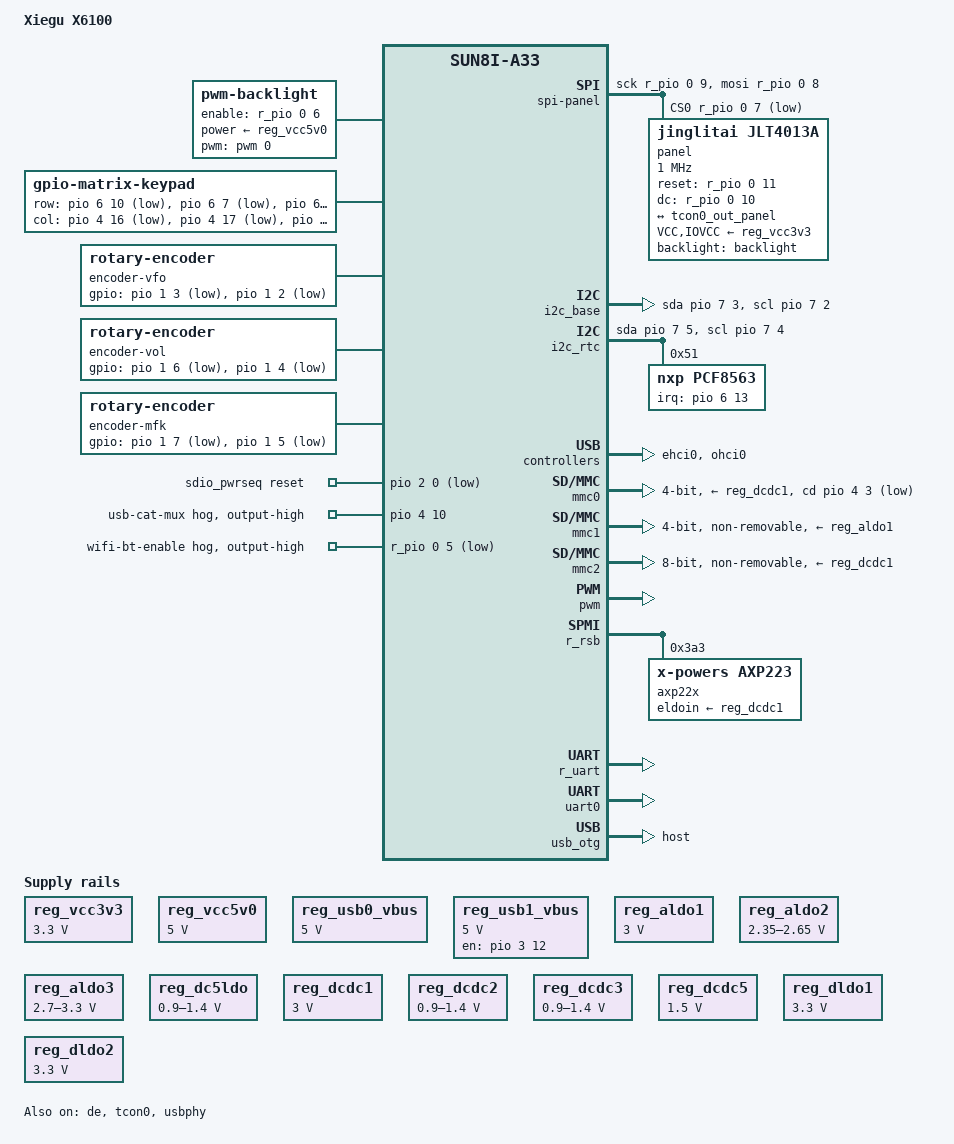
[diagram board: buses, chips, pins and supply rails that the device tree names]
// SPDX-License-Identifier: GPL-2.0-or-later OR MIT
/*
 * Xiegu X6100 HF/50 MHz transceiver, Linux side (Allwinner R16 / A33),
 * for x6100-q3: a system that runs Quake 3 on the radio's screen.
 *
 * Board facts (pins, regulators, keypad matrix, encoder wiring) were
 * worked out from the hardware and the stock system's device tree.
 * Device names are fixed here, not left to probe order:
 *
 *   /dev/ttyS0   Linux console (USB-C dual serial bridge, first port)
 *   /dev/ttyS2   second port of that bridge (r_uart, PE10 mux)
 *   /dev/i2c-0   BASE board control registers, slave 0x72 (power-off)
 *   /dev/i2c-1   PCF8563 battery-backed clock
 *   /dev/rtc0    PCF8563 (system time at boot, kept by chrony)
 *   /dev/fb0     480x800 portrait panel, XRGB8888 (mounted sideways)
 *   event*       keypad (BTN_TRIGGER_HAPPY1..30), three encoders
 *                (REL axes 0/1/2 = VFO/VOL/MFK), AXP223 power key
 *   sysfs gpio143 (PE15) key backlight, gpio203 (PG11) CW key (active
 *                low; must stay high: low keys the transmitter), gpio204
 *                (PG12) BASE reset (active high): set at boot by S03system
 *   PL5          Wi-Fi/Bluetooth module power, active low, held on (hog)
 *
 * Linux never transmits: the BASE board's flow UART (uart3) is off, and
 * so is the A33 audio codec, whose output is the transmitter's modem
 * input. Sound goes to Bluetooth or USB audio instead.
 */

/dts-v1/;

#include "sun8i-a33.dtsi"

#include <dt-bindings/gpio/gpio.h>
#include <dt-bindings/input/input.h>
#include <dt-bindings/interrupt-controller/irq.h>

/ {
	model = "Xiegu X6100";
	compatible = "xiegu,x6100", "allwinner,sun8i-r16", "allwinner,sun8i-a33";

	aliases {
		serial0 = &uart0;
		serial1 = &uart3;
		serial2 = &r_uart;
		i2c0 = &i2c_base;
		i2c1 = &i2c_rtc;
		rtc0 = &pcf8563;
		rtc1 = &rtc;
		mmc0 = &mmc0;
		mmc1 = &mmc1;
		mmc2 = &mmc2;
	};

	chosen {
		stdout-path = "serial0:115200n8";
	};

	reg_vcc3v3: regulator-vcc3v3 {
		compatible = "regulator-fixed";
		regulator-name = "vcc3v3";
		regulator-min-microvolt = <3300000>;
		regulator-max-microvolt = <3300000>;
	};

	reg_vcc5v0: regulator-vcc5v0 {
		compatible = "regulator-fixed";
		regulator-name = "vcc5v0";
		regulator-min-microvolt = <5000000>;
		regulator-max-microvolt = <5000000>;
	};

	/* The internal RTL8723BU (Wi-Fi + Bluetooth) sits on the OTG port. */
	reg_usb0_vbus: regulator-usb0-vbus {
		compatible = "regulator-fixed";
		regulator-name = "usb0-vbus";
		regulator-min-microvolt = <5000000>;
		regulator-max-microvolt = <5000000>;
		regulator-always-on;
	};

	reg_usb1_vbus: regulator-usb1-vbus {
		compatible = "regulator-fixed";
		regulator-name = "usb1-vbus";
		regulator-min-microvolt = <5000000>;
		regulator-max-microvolt = <5000000>;
		regulator-boot-on;
		enable-active-high;
		gpio = <&pio 3 12 GPIO_ACTIVE_HIGH>; /* PD12 */
	};

	/*
	 * The panel's PWM input is inverted: sysfs level 1 is the brightest,
	 * 9 the dimmest; 0 / bl_power switch it off.
	 */
	backlight: backlight {
		compatible = "pwm-backlight";
		pwms = <&pwm 0 10000000 0>;
		power-supply = <&reg_vcc5v0>;
		brightness-levels = <0 10 20 30 40 50 60 70 80 90 100>;
		default-brightness-level = <5>;
		enable-gpios = <&r_pio 0 6 GPIO_ACTIVE_HIGH>; /* PL6 */
	};

	/* Panel command interface: bit-banged 4-wire SPI with a D/CX line. */
	spi-panel {
		compatible = "spi-gpio";
		#address-cells = <1>;
		#size-cells = <0>;
		sck-gpios = <&r_pio 0 9 GPIO_ACTIVE_HIGH>;	/* PL9 */
		mosi-gpios = <&r_pio 0 8 GPIO_ACTIVE_HIGH>;	/* PL8 */
		cs-gpios = <&r_pio 0 7 GPIO_ACTIVE_LOW>;	/* PL7 */
		num-chipselects = <1>;

		panel@0 {
			compatible = "jinglitai,jlt4013a", "sitronix,st7701";
			reg = <0>;
			spi-max-frequency = <1000000>;
			/* The st7701 driver drives reset as "1 = running". */
			reset-gpios = <&r_pio 0 11 GPIO_ACTIVE_HIGH>;	/* PL11 */
			dc-gpios = <&r_pio 0 10 GPIO_ACTIVE_HIGH>;	/* PL10 */
			VCC-supply = <&reg_vcc3v3>;
			IOVCC-supply = <&reg_vcc3v3>;
			backlight = <&backlight>;
			/* Mounted portrait; the radio is used landscape. */
			rotation = <270>;

			port {
				panel_in: endpoint {
					remote-endpoint = <&tcon0_out_panel>;
				};
			};
		};
	};

	/* Bit-banged buses, as on the stock system: the BASE stretches SCL. */
	i2c_base: i2c-base {
		compatible = "i2c-gpio";
		sda-gpios = <&pio 7 3 (GPIO_ACTIVE_HIGH | GPIO_OPEN_DRAIN)>; /* PH3 */
		scl-gpios = <&pio 7 2 (GPIO_ACTIVE_HIGH | GPIO_OPEN_DRAIN)>; /* PH2 */
		i2c-gpio,delay-us = <2>;
		#address-cells = <1>;
		#size-cells = <0>;
	};

	i2c_rtc: i2c-rtc {
		compatible = "i2c-gpio";
		sda-gpios = <&pio 7 5 (GPIO_ACTIVE_HIGH | GPIO_OPEN_DRAIN)>; /* PH5 */
		scl-gpios = <&pio 7 4 (GPIO_ACTIVE_HIGH | GPIO_OPEN_DRAIN)>; /* PH4 */
		i2c-gpio,delay-us = <2>;
		#address-cells = <1>;
		#size-cells = <0>;

		pcf8563: rtc@51 {
			compatible = "nxp,pcf8563";
			reg = <0x51>;
			interrupt-parent = <&pio>;
			interrupts = <6 13 IRQ_TYPE_EDGE_FALLING>; /* PG13 */
			#clock-cells = <0>;
		};
	};

	/*
	 * Front panel keys, BTN_TRIGGER_HAPPYn by matrix position, as wired
	 * (x6100-launcher knows the soft keys and knob pushes by number).
	 */
	keypad {
		compatible = "gpio-matrix-keypad";
		row-gpios = <&pio 6 10 (GPIO_ACTIVE_LOW | GPIO_PULL_UP)>,	/* PG10 */
			    <&pio 6 7 (GPIO_ACTIVE_LOW | GPIO_PULL_UP)>,	/* PG7 */
			    <&pio 6 6 (GPIO_ACTIVE_LOW | GPIO_PULL_UP)>,	/* PG6 */
			    <&pio 6 8 (GPIO_ACTIVE_LOW | GPIO_PULL_UP)>,	/* PG8 */
			    <&pio 6 9 (GPIO_ACTIVE_LOW | GPIO_PULL_UP)>;	/* PG9 */
		col-gpios = <&pio 4 16 GPIO_ACTIVE_LOW>,	/* PE16 */
			    <&pio 4 17 GPIO_ACTIVE_LOW>,	/* PE17 */
			    <&pio 4 11 GPIO_ACTIVE_LOW>,	/* PE11 */
			    <&pio 4 14 GPIO_ACTIVE_LOW>,	/* PE14 */
			    <&pio 4 12 GPIO_ACTIVE_LOW>,	/* PE12 */
			    <&pio 4 13 GPIO_ACTIVE_LOW>;	/* PE13 */
		linux,keymap = <
			MATRIX_KEY(0, 0, BTN_TRIGGER_HAPPY1)  MATRIX_KEY(0, 1, BTN_TRIGGER_HAPPY2)
			MATRIX_KEY(0, 2, BTN_TRIGGER_HAPPY3)  MATRIX_KEY(0, 3, BTN_TRIGGER_HAPPY4)
			MATRIX_KEY(0, 4, BTN_TRIGGER_HAPPY5)  MATRIX_KEY(0, 5, BTN_TRIGGER_HAPPY6)
			MATRIX_KEY(1, 0, BTN_TRIGGER_HAPPY7)  MATRIX_KEY(1, 1, BTN_TRIGGER_HAPPY8)
			MATRIX_KEY(1, 2, BTN_TRIGGER_HAPPY9)  MATRIX_KEY(1, 3, BTN_TRIGGER_HAPPY10)
			MATRIX_KEY(1, 4, BTN_TRIGGER_HAPPY11) MATRIX_KEY(1, 5, BTN_TRIGGER_HAPPY12)
			MATRIX_KEY(2, 0, BTN_TRIGGER_HAPPY13) MATRIX_KEY(2, 1, BTN_TRIGGER_HAPPY14)
			MATRIX_KEY(2, 2, BTN_TRIGGER_HAPPY15) MATRIX_KEY(2, 3, BTN_TRIGGER_HAPPY16)
			MATRIX_KEY(2, 4, BTN_TRIGGER_HAPPY17) MATRIX_KEY(2, 5, BTN_TRIGGER_HAPPY18)
			MATRIX_KEY(3, 0, BTN_TRIGGER_HAPPY19) MATRIX_KEY(3, 1, BTN_TRIGGER_HAPPY20)
			MATRIX_KEY(3, 2, BTN_TRIGGER_HAPPY21) MATRIX_KEY(3, 3, BTN_TRIGGER_HAPPY22)
			MATRIX_KEY(3, 4, BTN_TRIGGER_HAPPY23) MATRIX_KEY(3, 5, BTN_TRIGGER_HAPPY24)
			MATRIX_KEY(4, 0, BTN_TRIGGER_HAPPY25) MATRIX_KEY(4, 1, BTN_TRIGGER_HAPPY26)
			MATRIX_KEY(4, 2, BTN_TRIGGER_HAPPY27) MATRIX_KEY(4, 3, BTN_TRIGGER_HAPPY28)
			MATRIX_KEY(4, 4, BTN_TRIGGER_HAPPY29) MATRIX_KEY(4, 5, BTN_TRIGGER_HAPPY30)
		>;
		gpio-activelow;
		drive-inactive-cols;
		debounce-delay-ms = <25>;
		col-scan-delay-us = <1>;
		linux,no-autorepeat;
		wakeup-source;
	};

	/* Encoders: REL axis 0 = VFO, 1 = VOL, 2 = MFK (direction as stock). */
	encoder-vfo {
		compatible = "rotary-encoder";
		pinctrl-names = "default";
		pinctrl-0 = <&encoder_vfo_pins>;
		gpios = <&pio 1 3 GPIO_ACTIVE_LOW>, <&pio 1 2 GPIO_ACTIVE_LOW>; /* PB3, PB2 */
		linux,axis = <0>;
		rotary-encoder,encoding = "gray";
		rotary-encoder,relative-axis;
	};

	encoder-vol {
		compatible = "rotary-encoder";
		pinctrl-names = "default";
		pinctrl-0 = <&encoder_vol_pins>;
		gpios = <&pio 1 6 GPIO_ACTIVE_LOW>, <&pio 1 4 GPIO_ACTIVE_LOW>; /* PB6, PB4 */
		linux,axis = <1>;
		rotary-encoder,encoding = "gray";
		rotary-encoder,relative-axis;
	};

	encoder-mfk {
		compatible = "rotary-encoder";
		pinctrl-names = "default";
		pinctrl-0 = <&encoder_mfk_pins>;
		gpios = <&pio 1 7 GPIO_ACTIVE_LOW>, <&pio 1 5 GPIO_ACTIVE_LOW>; /* PB7, PB5 */
		linux,axis = <2>;
		rotary-encoder,encoding = "gray";
		rotary-encoder,relative-axis;
	};

	/* Only for boards with the SDIO RTL8723BS instead of the USB module. */
	sdio_pwrseq: sdio-pwrseq {
		compatible = "mmc-pwrseq-simple";
		reset-gpios = <&pio 2 0 GPIO_ACTIVE_LOW>; /* PC0 */
	};
};

/* DVFS up to the R16's rated 1.2 GHz (vdd-cpu is the AXP223 DCDC3). */
&cpu0 {
	cpu-supply = <&reg_dcdc3>;
};

&cpu0_opp_table {
	opp-1104000000 {
		opp-hz = /bits/ 64 <1104000000>;
		opp-microvolt = <1320000>;
		clock-latency-ns = <244144>; /* 8 32k periods */
	};

	opp-1200000000 {
		opp-hz = /bits/ 64 <1200000000>;
		opp-microvolt = <1320000>;
		clock-latency-ns = <244144>; /* 8 32k periods */
	};
};

&de {
	status = "okay";
};

&ehci0 {
	status = "okay";
};

&mmc0 {
	vmmc-supply = <&reg_dcdc1>;
	bus-width = <4>;
	cd-gpios = <&pio 4 3 GPIO_ACTIVE_LOW>; /* PE3 */
	status = "okay";
};

&mmc1 {
	pinctrl-names = "default";
	pinctrl-0 = <&mmc1_pg_pins>;
	vmmc-supply = <&reg_aldo1>;
	mmc-pwrseq = <&sdio_pwrseq>;
	bus-width = <4>;
	non-removable;
	status = "okay";
};

&mmc2 {
	pinctrl-names = "default";
	pinctrl-0 = <&mmc2_8bit_pins>;
	vmmc-supply = <&reg_dcdc1>;
	bus-width = <8>;
	non-removable;
	cap-mmc-hw-reset;
	status = "okay";
};

&ohci0 {
	status = "okay";
};

&pio {
	vcc-pb-supply = <&reg_vcc3v3>;
	vcc-pc-supply = <&reg_vcc3v3>;
	vcc-pd-supply = <&reg_vcc3v3>;
	vcc-pe-supply = <&reg_vcc3v3>;
	vcc-pf-supply = <&reg_vcc3v3>;
	vcc-pg-supply = <&reg_vcc3v3>;
	vcc-ph-supply = <&reg_vcc3v3>;

	/*
	 * PE10 routes the USB-C port's serial bridge to /dev/ttyS2. The stock
	 * launcher raises it while a UI runs; here it is simply always on.
	 */
	usb-cat-mux-hog {
		gpio-hog;
		gpios = <4 10 GPIO_ACTIVE_HIGH>;
		output-high;
		line-name = "usb-cat-mux";
	};

	encoder_vfo_pins: encoder-vfo-pins {
		pins = "PB2", "PB3";
		function = "gpio_in";
		bias-pull-up;
	};

	encoder_vol_pins: encoder-vol-pins {
		pins = "PB4", "PB6";
		function = "gpio_in";
		bias-pull-up;
	};

	encoder_mfk_pins: encoder-mfk-pins {
		pins = "PB5", "PB7";
		function = "gpio_in";
		bias-pull-up;
	};

	usb0_id_det_pin: usb0-id-det-pin {
		pins = "PH8";
		function = "gpio_in";
		bias-pull-up;
	};
};

&pwm {
	pinctrl-names = "default";
	pinctrl-0 = <&pwm0_pin>;
	status = "okay";
};

&r_pio {
	vcc-pl-supply = <&reg_vcc3v3>;

	/* PL5 powers the RTL8723BU Wi-Fi/Bluetooth module, active low
	 * (X6100Control's x6100_pin_wifi, gpio 357; its wifi_power_on()
	 * drives 0). High, the module never shows up on USB. */
	wifi-bt-enable-hog {
		gpio-hog;
		gpios = <0 5 GPIO_ACTIVE_LOW>;
		output-high;
		line-name = "wifi-bt-enable";
	};
};

&r_rsb {
	status = "okay";

	axp22x: pmic@3a3 {
		compatible = "x-powers,axp223";
		reg = <0x3a3>;
		interrupt-parent = <&r_intc>;
		interrupts = <GIC_SPI 32 IRQ_TYPE_LEVEL_LOW>;
		eldoin-supply = <&reg_dcdc1>;
	};
};

#include "axp223.dtsi"

&reg_aldo1 {
	regulator-always-on;
	regulator-min-microvolt = <3000000>;
	regulator-max-microvolt = <3000000>;
	regulator-name = "vcc-io";
};

&reg_aldo2 {
	regulator-always-on;
	regulator-min-microvolt = <2350000>;
	regulator-max-microvolt = <2650000>;
	regulator-name = "vdd-dll";
};

&reg_aldo3 {
	regulator-always-on;
	regulator-min-microvolt = <2700000>;
	regulator-max-microvolt = <3300000>;
	regulator-name = "vcc-pll-avcc";
};

&reg_dc1sw {
	regulator-always-on;
	regulator-name = "vcc-lcd";
};

&reg_dc5ldo {
	regulator-always-on;
	regulator-min-microvolt = <900000>;
	regulator-max-microvolt = <1400000>;
	regulator-name = "vdd-cpus";
};

&reg_dcdc1 {
	regulator-always-on;
	regulator-min-microvolt = <3000000>;
	regulator-max-microvolt = <3000000>;
	regulator-name = "vcc-3v0";
};

&reg_dcdc2 {
	regulator-always-on;
	regulator-min-microvolt = <900000>;
	regulator-max-microvolt = <1400000>;
	regulator-name = "vdd-sys";
};

&reg_dcdc3 {
	regulator-always-on;
	regulator-min-microvolt = <900000>;
	regulator-max-microvolt = <1400000>;
	regulator-name = "vdd-cpu";
};

&reg_dcdc5 {
	regulator-always-on;
	regulator-min-microvolt = <1500000>;
	regulator-max-microvolt = <1500000>;
	regulator-name = "vcc-dram";
};

&reg_dldo1 {
	regulator-always-on;
	regulator-min-microvolt = <3300000>;
	regulator-max-microvolt = <3300000>;
	regulator-name = "vcc-wifi0";
};

&reg_dldo2 {
	regulator-always-on;
	regulator-min-microvolt = <3300000>;
	regulator-max-microvolt = <3300000>;
	regulator-name = "vcc-wifi1";
};

&reg_rtc_ldo {
	regulator-name = "vcc-rtc";
};

&r_uart {
	pinctrl-names = "default";
	pinctrl-0 = <&r_uart_pins_a>;
	status = "okay";
};

&tcon0 {
	pinctrl-names = "default";
	pinctrl-0 = <&lcd_rgb666_pins>;
	status = "okay";
};

&tcon0_out {
	tcon0_out_panel: endpoint@0 {
		reg = <0>;
		remote-endpoint = <&panel_in>;
	};
};

/* Console on the USB-C dual serial bridge. No DMA: with it, typed input
 * lost characters. */
&uart0 {
	pinctrl-names = "default";
	pinctrl-0 = <&uart0_pb_pins>;
	/delete-property/ dmas;
	/delete-property/ dma-names;
	status = "okay";
};

&usb_otg {
	dr_mode = "host";
	status = "okay";
};

&usbphy {
	pinctrl-names = "default";
	pinctrl-0 = <&usb0_id_det_pin>;
	usb0_id_det-gpios = <&pio 7 8 GPIO_ACTIVE_HIGH>; /* PH8 */
	usb0_vbus-supply = <&reg_usb0_vbus>;
	usb1_vbus-supply = <&reg_usb1_vbus>;
	status = "okay";
};
